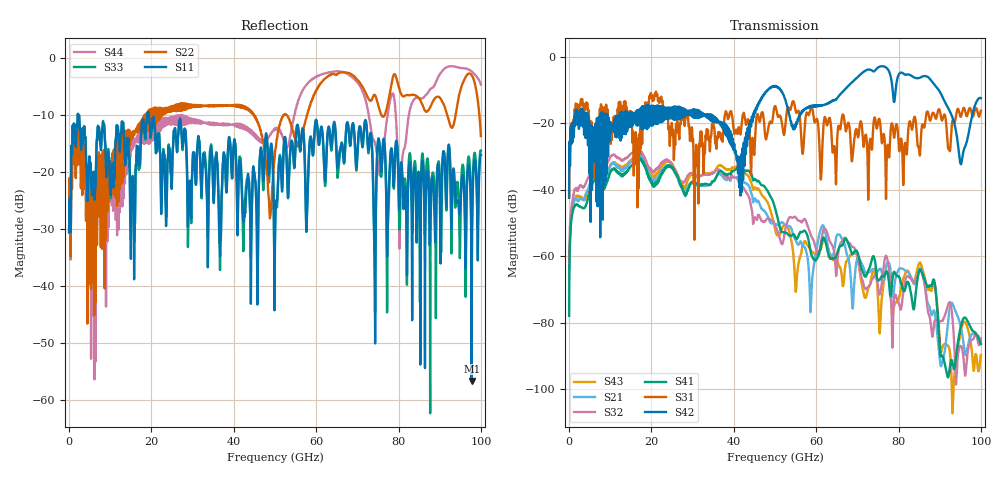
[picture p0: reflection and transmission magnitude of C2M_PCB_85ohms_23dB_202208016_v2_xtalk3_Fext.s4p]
! Info: Touchstone file created by Circ.  Input file=Intel_C2M_200G_9p0in_202208016_staggered.circ
# Hz S RI R 50
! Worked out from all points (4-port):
!   10000 points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, 10 MHz to 100 GHz, reference 50 ohm
!   strongest paths, dB at 10 MHz, 25.01 GHz, 50.01 GHz, 75.01 GHz, 100 GHz:
!     S42: -42.3, -18.6, -9.0, -3.3, -12.5
!     S31: -42.4, -21.0, -14.9, -19.8, -16.2
!     S41: -77.9, -33.5, -45.5, -67.1, -86.3
!     S32: -60.3, -32.5, -50.6, -69.2, -84.7
!     S21: -63.4, -33.6, -50.3, -64.3, -86.0
!     S43: -66.1, -32.4, -51.6, -72.5, -89.6
!   lowest |S11| = -56.6 dB at 97.76 GHz (marker M1), VSWR 1.00, Z = 50.1 - j0.0533 ohm
!   |S11| at or under -10 dB: start of sweep to 2.099 GHz; 2.177 GHz to 18.94 GHz (16.76 GHz wide, 159 % of centre); 19.36 GHz to end of sweep
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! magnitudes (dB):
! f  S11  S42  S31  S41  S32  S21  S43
! 10 MHz  -30.5  -42.3  -42.4  -77.9  -60.3  -63.4  -66.1
! 6.22 GHz  -24.5  -27.4  -26.1  -37.2  -32.5  -35.3  -35.3
! 40.79 GHz  -26.1  -30.6  -23.1  -33.6  -36.5  -36.1  -33.0
! 55.12 GHz  -13.4  -20.1  -16.8  -54.6  -48.4  -55.3  -70.1
! 80.35 GHz  -21.9  -4.9  -26.8  -66.8  -75.3  -63.5  -71.5
! 97.76 GHz  -56.6  -18.3  -17.0  -81.9  -85.1  -83.5  -87.8
! 100 GHz  -16.9  -12.5  -16.2  -86.3  -84.7  -86.0  -89.6
